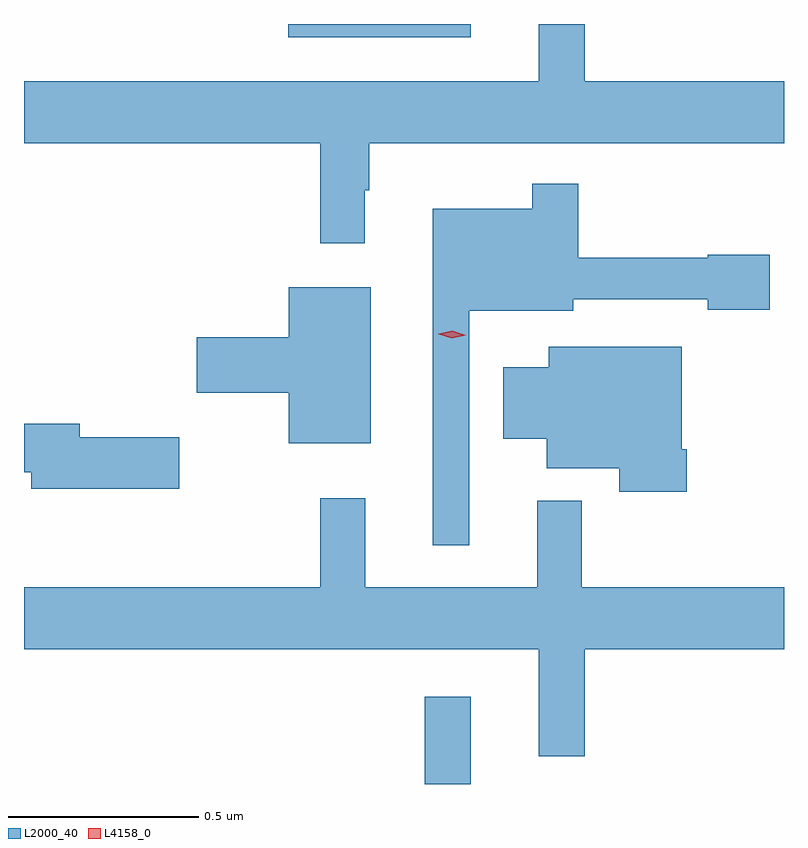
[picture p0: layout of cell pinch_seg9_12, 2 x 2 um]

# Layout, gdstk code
import gdstk
lib = gdstk.Library(unit=1e-6, precision=1e-09)
def R(c, l, rs):  # rectangles x0, y0, x1, y1
    for r in rs: c.add(gdstk.rectangle(r[:2], r[2:], *l))
def P(c, l, *ps):  # polygons
    for p in ps: c.add(gdstk.Polygon(p, *l))
L2000_40 = (2000, 40)
L4158_0 = (4158, 0)

pinch_seg9_12 = lib.new_cell('pinch_seg9_12')
R(pinch_seg9_12, L2000_40, [(1023.744,1229.366,1023.865,1229.596), (1023.384,1231.331,1023.865,1231.366)])
P(pinch_seg9_12, L2000_40, [(1023.586,1230.929),(1023.598,1230.929),(1023.598,1231.052),(1024.689,1231.052),(1024.689,1231.216),(1024.165,1231.216),(1024.165,1231.366),(1024.043,1231.366),(1024.043,1231.216),(1022.689,1231.216),(1022.689,1231.052),(1023.469,1231.052),(1023.469,1230.789),(1023.586,1230.789)],
  [(1023.861,1230.611),(1024.135,1230.611),(1024.135,1230.642),(1024.488,1230.642),(1024.488,1230.614),(1024.651,1230.614),(1024.651,1230.759),(1024.488,1230.759),(1024.488,1230.751),(1024.147,1230.751),(1024.147,1230.946),(1024.026,1230.946),(1024.026,1230.88),(1023.764,1230.88),(1023.764,1229.994),(1023.861,1229.994)],
  [(1023.601,1230.673),(1023.386,1230.673),(1023.386,1230.542),(1023.144,1230.542),(1023.144,1230.395),(1023.386,1230.395),(1023.386,1230.263),(1023.601,1230.263)],
  [(1024.433,1230.247),(1024.42,1230.247),(1024.42,1230.517),(1024.07,1230.517),(1024.07,1230.463),(1023.95,1230.463),(1023.95,1230.275),(1024.064,1230.275),(1024.064,1230.197),(1024.255,1230.197),(1024.255,1230.135),(1024.433,1230.135)],
  [(1023.097,1230.278),(1022.836,1230.278),(1022.836,1230.314),(1022.689,1230.314),(1022.689,1230.186),(1022.708,1230.186),(1022.708,1230.143),(1023.097,1230.143)],
  [(1024.165,1229.72),(1024.689,1229.72),(1024.689,1229.884),(1024.157,1229.884),(1024.157,1230.112),(1024.04,1230.112),(1024.04,1229.884),(1023.587,1229.884),(1023.587,1230.118),(1023.469,1230.118),(1023.469,1229.884),(1022.689,1229.884),(1022.689,1229.72),(1024.043,1229.72),(1024.043,1229.439),(1024.165,1229.439)])
P(pinch_seg9_12, L4158_0, [(1023.815,1230.539),(1023.78,1230.55),(1023.78,1230.55),(1023.78,1230.551),(1023.816,1230.559),(1023.851,1230.547),(1023.851,1230.547),(1023.851,1230.547)])

lib.write_gds('pinch_seg9_12.gds')
